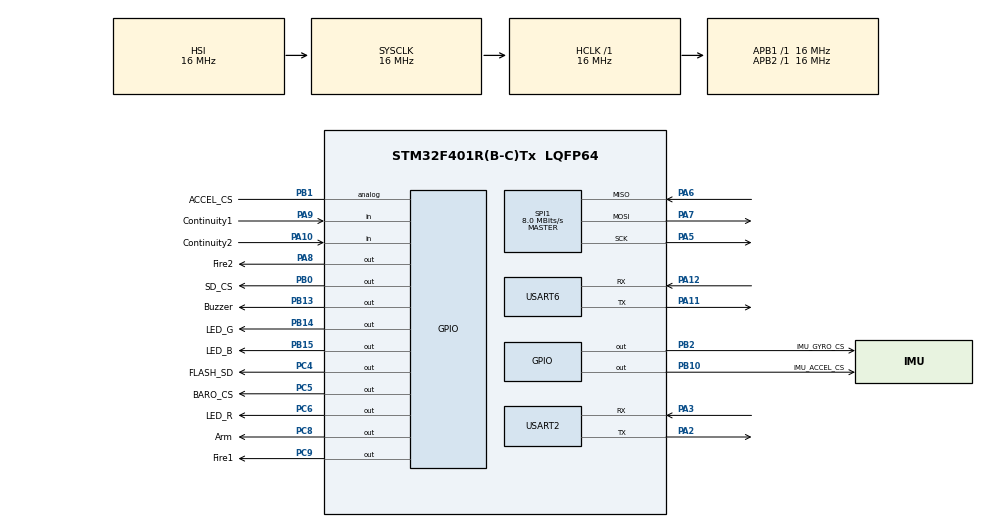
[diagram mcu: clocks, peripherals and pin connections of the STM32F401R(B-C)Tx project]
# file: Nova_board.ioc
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Mcu.Family=STM32F4
PA6.Mode=Full_Duplex_Master
RCC.CortexFreq_Value=16000000
SPI1.VirtualType=VM_MASTER
PB14.GPIO_Label=LED_G
PC6.GPIO_Label=LED_R
PA11.Mode=Asynchronous
PB0.GPIO_Label=SD_CS
PB13.GPIO_Label=Buzzer
PB13.Signal=GPIO_Output
PB15.Signal=GPIO_Output
ProjectManager.StackSize=0x400
PA12.Signal=USART6_RX
PH0\ -\ OSC_IN.Signal=RCC_OSC_IN
SPI1.Direction=SPI_DIRECTION_2LINES
SPI1.CalculateBaudRate=8.0 MBits/s
RCC.AHBFreq_Value=16000000
RCC.HSE_VALUE=25000000
PB2.Signal=GPIO_Output
PC14-OSC32_IN.Mode=LSE-External-Oscillator
PC4.GPIO_Label=FLASH_SD
PA14.Mode=Serial_Wire
PB1.GPIO_Label=ACCEL_CS
PA10.GPIO_Label=Continuity2
PA8.Signal=GPIO_Output
Mcu.Package=LQFP64
PB1.Signal=GPIO_Analog
PA6.Signal=SPI1_MISO
USART2.VirtualMode=VM_ASYNC
USART6.VirtualMode=VM_ASYNC
PA10.Signal=GPIO_Input
PC5.Signal=GPIO_Output
PA3.Signal=USART2_RX
PA5.Mode=Full_Duplex_Master
PC15-OSC32_OUT.Mode=LSE-External-Oscillator
PA7.Mode=Full_Duplex_Master
PC9.GPIO_Label=Fire1
PA9.GPIO_Label=Continuity1
PC8.Signal=GPIO_Output
PH1\ -\ OSC_OUT.Mode=HSE-External-Oscillator
PC4.Signal=GPIO_Output
PC6.Signal=GPIO_Output
PC14-OSC32_IN.Signal=RCC_OSC32_IN
PC8.GPIO_Label=Arm
PA13.Signal=SYS_JTMS-SWDIO
PA3.Mode=Asynchronous
PH0\ -\ OSC_IN.Mode=HSE-External-Oscillator
PA8.GPIO_Label=Fire2
ProjectManager.TargetToolchain=STM32CubeIDE
PB10.GPIO_Label=IMU_ACCEL_CS
PA9.Signal=GPIO_Input
PC15-OSC32_OUT.Signal=RCC_OSC32_OUT
PB10.Signal=GPIO_Output
PB14.Signal=GPIO_Output
PA5.Signal=SPI1_SCK
PH1\ -\ OSC_OUT.Signal=RCC_OSC_OUT
board=custom
RCC.VCOOutputFreq_Value=192000000
RCC.APB2Freq_Value=16000000
PB15.GPIO_Label=LED_B
SPI1.Mode=SPI_MODE_MASTER
PA13.Mode=Serial_Wire
Mcu.Name=STM32F401R(B-C)Tx
PA2.Signal=USART2_TX
RCC.SYSCLKFreq_VALUE=16000000
PA12.Mode=Asynchronous
PC5.GPIO_Label=BARO_CS
PA11.Signal=USART6_TX
PA14.Signal=SYS_JTCK-SWCLK
PB2.GPIO_Label=IMU_GYRO_CS
ProjectManager.HeapSize=0x200
RCC.HSI_VALUE=16000000
NVIC.PriorityGroup=NVIC_PRIORITYGROUP_4
PA2.Mode=Asynchronous
PC9.Signal=GPIO_Output
RCC.APB1Freq_Value=16000000
PB0.Signal=GPIO_Output
PA7.Signal=SPI1_MOSI

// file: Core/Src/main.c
/* USER CODE BEGIN Header */
/**
  ******************************************************************************
  * @file           : main.c
  * @brief          : Main program body
  ******************************************************************************
  * @attention
  *
  * <h2><center>&copy; Copyright (c) 2020 STMicroelectronics.
  * All rights reserved.</center></h2>
  *
  * This software component is licensed by ST under BSD 3-Clause license,
  * the "License"; You may not use this file except in compliance with the
  * License. You may obtain a copy of the License at:
  *                        opensource.org/licenses/BSD-3-Clause
  *
  ******************************************************************************
  */
/* USER CODE END Header */
#include "main.h"

/* USER CODE BEGIN PTD */
#define SPI_READ 0x00
#define SPI_WRITE 0x80
/* USER CODE END PTD */

SPI_HandleTypeDef hspi1;

UART_HandleTypeDef huart2;
UART_HandleTypeDef huart6;

void SystemClock_Config(void);
static void MX_GPIO_Init(void);
static void MX_SPI1_Init(void);
static void MX_USART2_UART_Init(void);
static void MX_USART6_UART_Init(void);
/* USER CODE BEGIN PFP */
HAL_StatusTypeDef SPI_Custom(uint8_t rw, uint8_t address, uint16_t * value, GPIO_TypeDef* GPIO, uint16_t pin);
HAL_StatusTypeDef SPI_CustomADC(uint8_t rw, uint8_t address, uint32_t * value, GPIO_TypeDef* GPIO, uint16_t pin);
/* USER CODE END PFP */

int main(void)
{

  /* MCU Configuration--------------------------------------------------------*/

  /* Reset of all peripherals, Initializes the Flash interface and the Systick. */
  HAL_Init();

  /* Configure the system clock */
  SystemClock_Config();

  /* Initialize all configured peripherals */
  MX_GPIO_Init();
  MX_SPI1_Init();
  MX_USART2_UART_Init();
  MX_USART6_UART_Init();
  /* USER CODE BEGIN 2 */
	uint8_t reset = 0x1E;
	HAL_GPIO_WritePin(BARO_CS_GPIO_Port, BARO_CS_Pin, GPIO_PIN_RESET);
	HAL_SPI_Transmit(&hspi1, &reset, 1, 1000);
	HAL_GPIO_WritePin(BARO_CS_GPIO_Port, BARO_CS_Pin, GPIO_PIN_SET);

	char msg[20]  = "    Hello World     ";
	char msg1[20] = "                    ";
	char msg2[20] = "                    ";
	char msg3[20] = "                    ";
  /* USER CODE END 2 */

  /* Infinite loop */
  while (1)
  {

    /* USER CODE BEGIN 3 */

	barometer_test(hspi1,huart2);
	/*uint8_t calltempaddr = 0x58;
	uint8_t calladcaddr = 0x00;
	uint32_t calladc=0;
	uint8_t whoamiaddr=0x00;
	uint16_t whoami=0;

	SPI_Custom(SPI_READ, whoamiaddr, &whoami, BARO_CS_GPIO_Port, BARO_CS_Pin);

	sprintf(msg1,"PROM : %d\n\r", (int)whoami);
	HAL_UART_Transmit(&huart2,msg3,20,1);

	HAL_GPIO_WritePin(BARO_CS_GPIO_Port, BARO_CS_Pin, GPIO_PIN_RESET);
	HAL_SPI_Transmit(&hspi1, calltempaddr, 1, 1000);
	//HAL_GPIO_WritePin(BARO_CS_GPIO_Port, BARO_CS_Pin, GPIO_PIN_SET);

	HAL_Delay(1000);

	SPI_CustomADC(SPI_READ, calladcaddr, &calladc, BARO_CS_GPIO_Port, BARO_CS_Pin);

	sprintf(msg1,"ADC : %d\n\r", (int)calladc);
	HAL_UART_Transmit(&huart2,msg1,20,1);

	//HAL_UART_Transmit(&huart2, msg, 20, 1);

		//uint16_t acceleration;
		//uint8_t high_addr = 0x29;
		//uint8_t low_addr = 0x28;
		//uint8_t highVal;
		//uint8_t lowVal;
		//SPI_Custom(SPI_READ, low_addr, &lowVal, ACCEL_CS_GPIO_Port, ACCEL_CS_Pin);
		//SPI_Custom(SPI_READ, high_addr, &highVal, ACCEL_CS_GPIO_Port, ACCEL_CS_Pin);

		//acceleration = (highVal << 8) + lowVal;

		//sprintf(msg2, "Accel:%d\n\r", (int)acceleration);
		//HAL_UART_Transmit(&huart2, msg2, 20,1);
*/
		HAL_Delay(500);
  }
  /* USER CODE END 3 */
}

void SystemClock_Config(void)
{
  RCC_OscInitTypeDef RCC_OscInitStruct = {0};
  RCC_ClkInitTypeDef RCC_ClkInitStruct = {0};

  /** Configure the main internal regulator output voltage
  */
  __HAL_RCC_PWR_CLK_ENABLE();
  __HAL_PWR_VOLTAGESCALING_CONFIG(PWR_REGULATOR_VOLTAGE_SCALE2);
  /** Initializes the RCC Oscillators according to the specified parameters
  * in the RCC_OscInitTypeDef structure.
  */
  RCC_OscInitStruct.OscillatorType = RCC_OSCILLATORTYPE_HSI;
  RCC_OscInitStruct.HSIState = RCC_HSI_ON;
  RCC_OscInitStruct.HSICalibrationValue = RCC_HSICALIBRATION_DEFAULT;
  RCC_OscInitStruct.PLL.PLLState = RCC_PLL_NONE;
  if (HAL_RCC_OscConfig(&RCC_OscInitStruct) != HAL_OK)
  {
    Error_Handler();
  }
  /** Initializes the CPU, AHB and APB buses clocks
  */
  RCC_ClkInitStruct.ClockType = RCC_CLOCKTYPE_HCLK|RCC_CLOCKTYPE_SYSCLK
                              |RCC_CLOCKTYPE_PCLK1|RCC_CLOCKTYPE_PCLK2;
  RCC_ClkInitStruct.SYSCLKSource = RCC_SYSCLKSOURCE_HSI;
  RCC_ClkInitStruct.AHBCLKDivider = RCC_SYSCLK_DIV1;
  RCC_ClkInitStruct.APB1CLKDivider = RCC_HCLK_DIV1;
  RCC_ClkInitStruct.APB2CLKDivider = RCC_HCLK_DIV1;

  if (HAL_RCC_ClockConfig(&RCC_ClkInitStruct, FLASH_LATENCY_0) != HAL_OK)
  {
    Error_Handler();
  }
}

static void MX_SPI1_Init(void)
{

  /* SPI1 parameter configuration*/
  hspi1.Instance = SPI1;
  hspi1.Init.Mode = SPI_MODE_MASTER;
  hspi1.Init.Direction = SPI_DIRECTION_2LINES;
  hspi1.Init.DataSize = SPI_DATASIZE_8BIT;
  hspi1.Init.CLKPolarity = SPI_POLARITY_LOW;
  hspi1.Init.CLKPhase = SPI_PHASE_1EDGE;
  hspi1.Init.NSS = SPI_NSS_SOFT;
  hspi1.Init.BaudRatePrescaler = SPI_BAUDRATEPRESCALER_2;
  hspi1.Init.FirstBit = SPI_FIRSTBIT_MSB;
  hspi1.Init.TIMode = SPI_TIMODE_DISABLE;
  hspi1.Init.CRCCalculation = SPI_CRCCALCULATION_DISABLE;
  hspi1.Init.CRCPolynomial = 10;
  if (HAL_SPI_Init(&hspi1) != HAL_OK)
  {
    Error_Handler();
  }

}

static void MX_USART2_UART_Init(void)
{

  huart2.Instance = USART2;
  huart2.Init.BaudRate = 115200;
  huart2.Init.WordLength = UART_WORDLENGTH_8B;
  huart2.Init.StopBits = UART_STOPBITS_1;
  huart2.Init.Parity = UART_PARITY_NONE;
  huart2.Init.Mode = UART_MODE_TX_RX;
  huart2.Init.HwFlowCtl = UART_HWCONTROL_NONE;
  huart2.Init.OverSampling = UART_OVERSAMPLING_16;
  if (HAL_UART_Init(&huart2) != HAL_OK)
  {
    Error_Handler();
  }

}

static void MX_USART6_UART_Init(void)
{

  huart6.Instance = USART6;
  huart6.Init.BaudRate = 115200;
  huart6.Init.WordLength = UART_WORDLENGTH_8B;
  huart6.Init.StopBits = UART_STOPBITS_1;
  huart6.Init.Parity = UART_PARITY_NONE;
  huart6.Init.Mode = UART_MODE_TX_RX;
  huart6.Init.HwFlowCtl = UART_HWCONTROL_NONE;
  huart6.Init.OverSampling = UART_OVERSAMPLING_16;
  if (HAL_UART_Init(&huart6) != HAL_OK)
  {
    Error_Handler();
  }

}

static void MX_GPIO_Init(void)
{
  GPIO_InitTypeDef GPIO_InitStruct = {0};

  /* GPIO Ports Clock Enable */
  __HAL_RCC_GPIOC_CLK_ENABLE();
  __HAL_RCC_GPIOH_CLK_ENABLE();
  __HAL_RCC_GPIOA_CLK_ENABLE();
  __HAL_RCC_GPIOB_CLK_ENABLE();

  /*Configure GPIO pin Output Level */
  HAL_GPIO_WritePin(GPIOC, FLASH_SD_Pin|BARO_CS_Pin|LED_R_Pin|Arm_Pin
                          |Fire1_Pin, GPIO_PIN_RESET);

  /*Configure GPIO pin Output Level */
  HAL_GPIO_WritePin(GPIOB, SD_CS_Pin|IMU_GYRO_CS_Pin|IMU_ACCEL_CS_Pin|Buzzer_Pin
                          |LED_G_Pin|LED_B_Pin, GPIO_PIN_RESET);

  /*Configure GPIO pin Output Level */
  HAL_GPIO_WritePin(Fire2_GPIO_Port, Fire2_Pin, GPIO_PIN_RESET);

  /*Configure GPIO pins : FLASH_SD_Pin BARO_CS_Pin LED_R_Pin Arm_Pin
                           Fire1_Pin */
  GPIO_InitStruct.Pin = FLASH_SD_Pin|BARO_CS_Pin|LED_R_Pin|Arm_Pin
                          |Fire1_Pin;
  GPIO_InitStruct.Mode = GPIO_MODE_OUTPUT_PP;
  GPIO_InitStruct.Pull = GPIO_NOPULL;
  GPIO_InitStruct.Speed = GPIO_SPEED_FREQ_LOW;
  HAL_GPIO_Init(GPIOC, &GPIO_InitStruct);

  /*Configure GPIO pins : SD_CS_Pin IMU_GYRO_CS_Pin IMU_ACCEL_CS_Pin Buzzer_Pin
                           LED_G_Pin LED_B_Pin */
  GPIO_InitStruct.Pin = SD_CS_Pin|IMU_GYRO_CS_Pin|IMU_ACCEL_CS_Pin|Buzzer_Pin
                          |LED_G_Pin|LED_B_Pin;
  GPIO_InitStruct.Mode = GPIO_MODE_OUTPUT_PP;
  GPIO_InitStruct.Pull = GPIO_NOPULL;
  GPIO_InitStruct.Speed = GPIO_SPEED_FREQ_LOW;
  HAL_GPIO_Init(GPIOB, &GPIO_InitStruct);

  /*Configure GPIO pin : ACCEL_CS_Pin */
  GPIO_InitStruct.Pin = ACCEL_CS_Pin;
  GPIO_InitStruct.Mode = GPIO_MODE_ANALOG;
  GPIO_InitStruct.Pull = GPIO_NOPULL;
  HAL_GPIO_Init(ACCEL_CS_GPIO_Port, &GPIO_InitStruct);

  /*Configure GPIO pin : Fire2_Pin */
  GPIO_InitStruct.Pin = Fire2_Pin;
  GPIO_InitStruct.Mode = GPIO_MODE_OUTPUT_PP;
  GPIO_InitStruct.Pull = GPIO_NOPULL;
  GPIO_InitStruct.Speed = GPIO_SPEED_FREQ_LOW;
  HAL_GPIO_Init(Fire2_GPIO_Port, &GPIO_InitStruct);

  /*Configure GPIO pins : Continuity1_Pin Continuity2_Pin */
  GPIO_InitStruct.Pin = Continuity1_Pin|Continuity2_Pin;
  GPIO_InitStruct.Mode = GPIO_MODE_INPUT;
  GPIO_InitStruct.Pull = GPIO_NOPULL;
  HAL_GPIO_Init(GPIOA, &GPIO_InitStruct);

}

/* USER CODE BEGIN 4 */
HAL_StatusTypeDef SPI_Custom(uint8_t rw, uint8_t address, uint16_t * value, GPIO_TypeDef* GPIO, uint16_t pin) {
	HAL_GPIO_WritePin(GPIO, pin, GPIO_PIN_RESET);
	//address |= rw ;
	//address &= 0xBF;
	HAL_StatusTypeDef val;
	if(rw == SPI_READ) {
		//uint8_t dummy = 0x00;
		//val = HAL_SPI_Transmit(&hspi1, &address, 1, 1000);

		uint8_t vals[2];
		//val = HAL_SPI_Transmit(&hspi1, &dummy, 1, 1000);
		//val = HAL_SPI_Receive(&hspi1, &vals, 3, 1000);

		val = HAL_SPI_TransmitReceive(&hspi1, &address, vals, 2, 1000);
		*value = (vals[1] << 8) + vals[0];
	}
	else {
		uint16_t data = (address << 8) + *value;
		val = HAL_SPI_Transmit(&hspi1, &data, 2, 1000);
	}
	HAL_GPIO_WritePin(GPIO, pin, GPIO_PIN_SET);
	return val;
}

HAL_StatusTypeDef SPI_CustomADC(uint8_t rw, uint8_t address, uint32_t * value, GPIO_TypeDef* GPIO, uint16_t pin) {
	HAL_GPIO_WritePin(GPIO, pin, GPIO_PIN_RESET);
	//address |= rw ;
	//address &= 0xBF;
	HAL_StatusTypeDef val;
	if(rw == SPI_READ) {
		//uint8_t dummy = 0x00;
		//val = HAL_SPI_Transmit(&hspi1, &address, 1, 1000);

		uint8_t vals[3];
		//val = HAL_SPI_Transmit(&hspi1, &dummy, 1, 1000);
		//val = HAL_SPI_Receive(&hspi1, &vals, 3, 1000);

		val = HAL_SPI_TransmitReceive(&hspi1, &address, vals, 3, 1000);
		*value = (vals[2] <<16) + (vals[1] << 8) + vals[0];
	}
	else {
		uint32_t data = (address << 8) + *value;
		val = HAL_SPI_Transmit(&hspi1, &data, 2, 1000);
	}
	HAL_GPIO_WritePin(GPIO, pin, GPIO_PIN_SET);
	return val;
}

/* USER CODE END 4 */

void Error_Handler(void)
{
}

/************************ (C) COPYRIGHT STMicroelectronics *****END OF FILE****/
